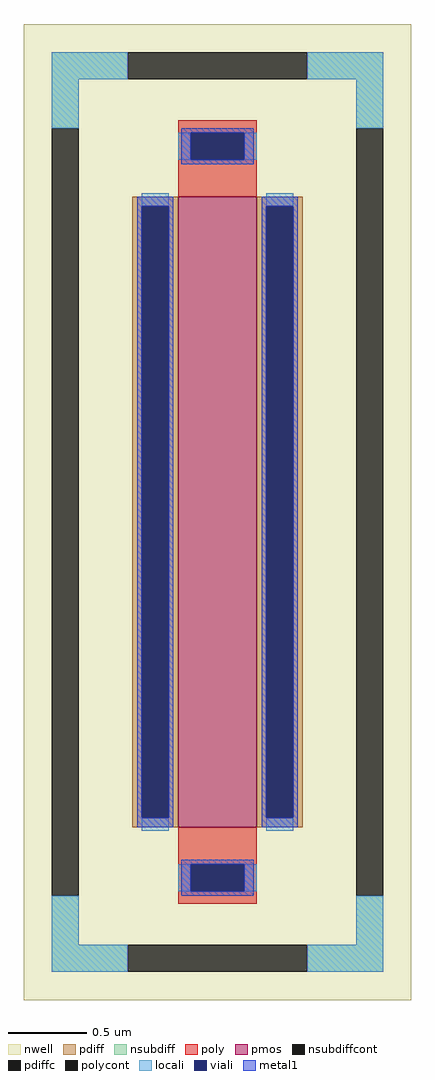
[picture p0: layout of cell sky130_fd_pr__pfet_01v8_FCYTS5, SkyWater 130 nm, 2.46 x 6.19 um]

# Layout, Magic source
magic
tech sky130A
magscale 1 2
<< nwell >>
rect -246 -619 246 619
<< pmos >>
rect -50 -400 50 400
<< pdiff >>
rect -108 388 -50 400
rect -108 -388 -96 388
rect -62 -388 -50 388
rect -108 -400 -50 -388
rect 50 388 108 400
rect 50 -388 62 388
rect 96 -388 108 388
rect 50 -400 108 -388
<< pdiffc >>
rect -96 -388 -62 388
rect 62 -388 96 388
<< nsubdiff >>
rect -210 549 -114 583
rect 114 549 210 583
rect -210 487 -176 549
rect 176 487 210 549
rect -210 -549 -176 -487
rect 176 -549 210 -487
rect -210 -583 -114 -549
rect 114 -583 210 -549
<< nsubdiffcont >>
rect -114 549 114 583
rect -210 -487 -176 487
rect 176 -487 210 487
rect -114 -583 114 -549
<< poly >>
rect -50 481 50 497
rect -50 447 -34 481
rect 34 447 50 481
rect -50 400 50 447
rect -50 -447 50 -400
rect -50 -481 -34 -447
rect 34 -481 50 -447
rect -50 -497 50 -481
<< polycont >>
rect -34 447 34 481
rect -34 -481 34 -447
<< locali >>
rect -210 549 -114 583
rect 114 549 210 583
rect -210 487 -176 549
rect 176 487 210 549
rect -50 447 -34 481
rect 34 447 50 481
rect -96 388 -62 404
rect -96 -404 -62 -388
rect 62 388 96 404
rect 62 -404 96 -388
rect -50 -481 -34 -447
rect 34 -481 50 -447
rect -210 -549 -176 -487
rect 176 -549 210 -487
rect -210 -583 -114 -549
rect 114 -583 210 -549
<< viali >>
rect -34 447 34 481
rect -96 -388 -62 388
rect 62 -388 96 388
rect -34 -481 34 -447
<< metal1 >>
rect -46 481 46 487
rect -46 447 -34 481
rect 34 447 46 481
rect -46 441 46 447
rect -102 388 -56 400
rect -102 -388 -96 388
rect -62 -388 -56 388
rect -102 -400 -56 -388
rect 56 388 102 400
rect 56 -388 62 388
rect 96 -388 102 388
rect 56 -400 102 -388
rect -46 -447 46 -441
rect -46 -481 -34 -447
rect 34 -481 46 -447
rect -46 -487 46 -481
<< properties >>
string FIXED_BBOX -193 -566 193 566
string gencell sky130_fd_pr__pfet_01v8
string library sky130
string parameters w 4 l 0.5 m 1 nf 1 diffcov 100 polycov 100 guard 1 glc 1 grc 1 gtc 1 gbc 1 tbcov 100 rlcov 100 topc 1 botc 1 poverlap 0 doverlap 1 lmin 0.15 wmin 0.42 compatible {sky130_fd_pr__pfet_01v8  sky130_fd_pr__pfet_01v8_lvt sky130_fd_pr__pfet_01v8_hvt  sky130_fd_pr__pfet_g5v0d10v5} full_metal 1 viasrc 100 viadrn 100 viagate 100 viagb 0 viagr 0 viagl 0 viagt 0
<< end >>
